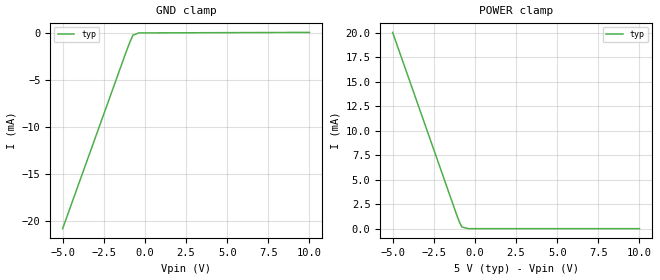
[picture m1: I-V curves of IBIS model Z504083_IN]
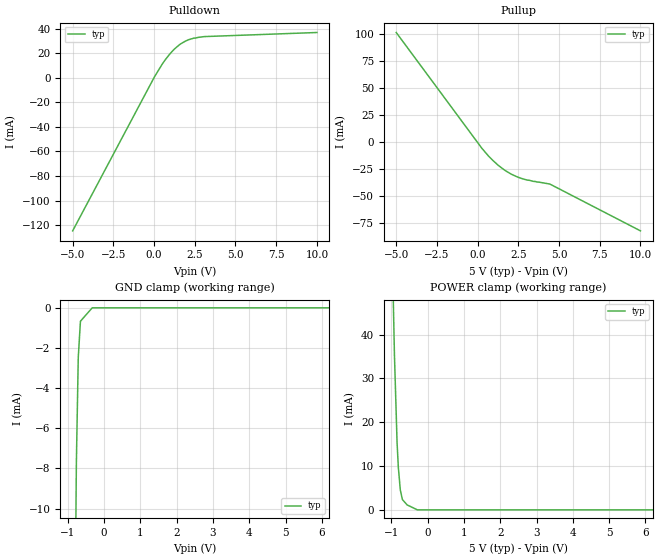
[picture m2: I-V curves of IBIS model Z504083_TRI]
| YOU ARE ONLY AUTHORIZED TO USE THIS SOFTWARE
| ACCORDING TO LICENSOR'S LICENSE RESTRICTIONS.
[IBIS Ver] 3.1
[File Name] mc54hc253j.ibs
[File Rev] 2.0
[Source] Measured and created by ICX Technology
[Date] Friday 7/14/00 9:08:06 AM
[Copyright]
| (C) COPYRIGHT 1993-2000
| MENTOR GRAPHICS CORPORATION
| ICX STANDARD LIBRARY, ICX PROJECT MODELING,
| ICX CUSTOM MODELING, ICX VENDOR MODEL
| ALL RIGHTS RESERVED.
| THE FOLLOWING ARE TRADEMARKS OR SERVICE MARKS OF
| MENTOR GRAPHICS CORPORATION:ICX (R), ICX STANDARD
| LIBRARY(R), ICX PROJECT MODELING(R), ICX CUSTOM
| MODELING(R), qualityIBIS(TM), MODELVIEWER(TM),
| AND MODELEDITOR(TM)
| ALL COPIES OF SOFTWARE, INCLUDING BUT NOT LIMITED TO
| ANY MODIFICATIONS, ENHANCEMENTS OR DERIVATIVE WORKS,
| MUST CONTAIN ALL MENTOR GRAPHICS CORPORATION'S
| NOTICES AND LEGENDS, INCLUDING THOSE EMBEDDED IN
| SOFTWARE AND THOSE AFFIXED TO SOFTWARE MEDIUM
| AND CONTAINER, AS RECEIVED FROM MENTOR GRAPHICS
| CORPORATION.
|  ZAP Model Builder 2.7
[Component] MC54HC253J
[Manufacturer] OnSemiconductor
[Package]
| variable   typ   min   max
R_pkg  .212ohms NA NA
L_pkg  4.758nH NA NA
C_pkg  1.944pF NA NA
[Pin] signal_name  model_name  R_pin  L_pin C_pin
1 _G1 Z504083_IN .224 7.258n 2.683p
2 B Z504083_IN .216 5.258n 2.19p
3 C3A Z504083_IN .208 3.758n 1.697p
4 C2A Z504083_IN .2 2.758n 1.204p
5 C1A Z504083_IN .2 2.758n 1.204p
6 C0A Z504083_IN .208 3.758n 1.697p
7 Y1 Z504083_TRI .216 5.258n 2.19p
8 GND GND .224 7.258n 2.683p
9 Y2 Z504083_TRI .224 7.258n 2.683p
10 C0B Z504083_IN .216 5.258n 2.19p
11 C1B Z504083_IN .208 3.758n 1.697p
12 C2B Z504083_IN .2 2.758n 1.204p
13 C3B Z504083_IN .2 2.758n 1.204p
14 A Z504083_IN .208 3.758n 1.697p
15 _G2 Z504083_IN .216 5.258n 2.19p
16 VCC POWER .224 7.258n 2.683p
| Models and submodels in the file (2): Z504083_IN (Input), Z504083_TRI (3-state)
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| (C) COPYRIGHT 1993-2000
| MENTOR GRAPHICS CORPORATION
| ICX STANDARD LIBRARY, ICX PROJECT MODELING,
| ICX CUSTOM MODELING, ICX VENDOR MODEL
| ALL RIGHTS RESERVED.
| THE FOLLOWING ARE TRADEMARKS OR SERVICE MARKS OF
| MENTOR GRAPHICS CORPORATION:ICX (R), ICX STANDARD
| LIBRARY(R), ICX PROJECT MODELING(R), ICX CUSTOM
| MODELING(R), qualityIBIS(TM), MODELVIEWER(TM),
| AND MODELEDITOR(TM)
| ALL COPIES OF SOFTWARE, INCLUDING BUT NOT LIMITED TO
| ANY MODIFICATIONS, ENHANCEMENTS OR DERIVATIVE WORKS,
| MUST CONTAIN ALL MENTOR GRAPHICS CORPORATION'S
| NOTICES AND LEGENDS, INCLUDING THOSE EMBEDDED IN
| SOFTWARE AND THOSE AFFIXED TO SOFTWARE MEDIUM
| AND CONTAINER, AS RECEIVED FROM MENTOR GRAPHICS
| CORPORATION.
| Model Application Version 1.89 2/18/99.
[Model] Z504083_IN
Model_type Input
Vinl = 1.000V
Vinh = 3.500V
C_comp 4.000pF NA NA
| variable typ   min   max
[Voltage Range] 5.000V NA NA
[GND Clamp Reference] 0.000V NA NA
[POWER Clamp Reference] 5.000V NA NA
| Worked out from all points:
|   GND clamp passes 1 mA (typ) near -0.91 V on its own axis
|   POWER clamp passes 1 mA (typ) near -1.01 V on its own axis
[GND Clamp]
-5V       -20.85mA   NA         NA
-1.13V    -1.998mA   NA         NA
-898.4mV  -948.2uA   NA         NA
-728mV    -269.6uA   NA         NA
-364mV    -26.05uA   NA         NA
10V       28.68uA    NA         NA
[POWER Clamp]
-5V       20.02mA    NA         NA
-1.097V   1.36mA     NA         NA
-905mV    540.4uA    NA         NA
-791mV    173.3uA    NA         NA
-395.5mV  0A         NA         NA
10V       0A         NA         NA
| (C) COPYRIGHT 1993-2000
| MENTOR GRAPHICS CORPORATION
| ICX STANDARD LIBRARY, ICX PROJECT MODELING,
| ICX CUSTOM MODELING, ICX VENDOR MODEL
| ALL RIGHTS RESERVED.
| THE FOLLOWING ARE TRADEMARKS OR SERVICE MARKS OF
| MENTOR GRAPHICS CORPORATION:ICX (R), ICX STANDARD
| LIBRARY(R), ICX PROJECT MODELING(R), ICX CUSTOM
| MODELING(R), qualityIBIS(TM), MODELVIEWER(TM),
| AND MODELEDITOR(TM)
| ALL COPIES OF SOFTWARE, INCLUDING BUT NOT LIMITED TO
| ANY MODIFICATIONS, ENHANCEMENTS OR DERIVATIVE WORKS,
| MUST CONTAIN ALL MENTOR GRAPHICS CORPORATION'S
| NOTICES AND LEGENDS, INCLUDING THOSE EMBEDDED IN
| SOFTWARE AND THOSE AFFIXED TO SOFTWARE MEDIUM
| AND CONTAINER, AS RECEIVED FROM MENTOR GRAPHICS
| CORPORATION.
| Model Application Version 1.89 2/18/99.
[Model] Z504083_TRI
Model_type 3-state
Vref=0.000V
Rref=500.0Mohms
Cref=50.00pF
Vmeas=2.500V
C_comp 8.000pF NA NA
| variable typ   min   max
[Voltage Range] 5.000V NA NA
[POWER Clamp Reference] 5.000V NA NA
[Pullup Reference] 5.000V NA NA
[Pulldown Reference] 0.000V NA NA
[GND Clamp Reference] 0.000V NA NA
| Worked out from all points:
|   slope of the pulldown table from 0 to 0.75 V, typ, clamps not added: 48.2 ohm
|   slope of the pullup table from 0 to 0.75 V, typ, clamps not added: 54.4 ohm
|   GND clamp passes 1 mA (typ) near -0.66 V on its own axis
[GND Clamp]
-5V       -689.5mA   NA         NA
-1.206V   -99.47mA   NA         NA
-1.094V   -79.06mA   NA         NA
-761.7mV  -7.738mA   NA         NA
-709.5mV  -2.481mA   NA         NA
-649.5mV  -668.4uA   NA         NA
-324.8mV  0A         NA         NA
10V       0A         NA         NA
[Pulldown]
-5V       -124.6mA   NA         NA
27.92mV   866.8uA    NA         NA
708mV     15.05mA    NA         NA
1.24V     23.28mA    NA         NA
1.533V    26.64mA    NA         NA
2.129V    31.07mA    NA         NA
3.086V    33.53mA    NA         NA
10V       36.86mA    NA         NA
[Pullup]
-5V       101.8mA    NA         NA
254mV     -5.633mA   NA         NA
665mV     -12.92mA   NA         NA
1.275V    -21.71mA   NA         NA
1.831V    -27.71mA   NA         NA
2.564V    -33.07mA   NA         NA
3.418V    -36.48mA   NA         NA
4.433V    -38.96mA   NA         NA
10V       -82.45mA   NA         NA
[POWER Clamp]
-5V       2.108A     NA         NA
-1.011V   74.32mA    NA         NA
-913mV    35.48mA    NA         NA
-840mV    15.27mA    NA         NA
-806mV    9.764mA    NA         NA
-751mV    4.528mA    NA         NA
-694mV    2.354mA    NA         NA
-563mV    1.123mA    NA         NA
-281.5mV  0A         NA         NA
10V       0A         NA         NA
[Ramp]
| variable typ min max
dV/dt_r 2.734/1.715n NA NA
dV/dt_f 2.734/1.472n NA NA
R_load = 500.0Ohms
